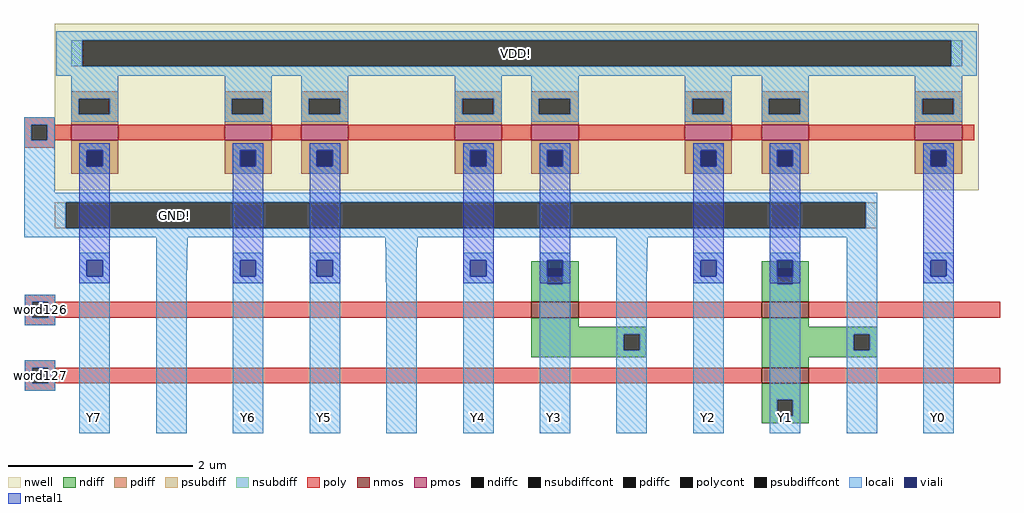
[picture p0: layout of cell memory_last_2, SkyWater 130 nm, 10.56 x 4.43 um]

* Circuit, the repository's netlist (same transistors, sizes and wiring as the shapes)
* NGSPICE file created from memory_last_2.ext - technology: sky130A

*.subckt memory_last_2 GND VDD word126 word127 Y7 Y6 Y5 Y4 Y3 Y2 Y1 Y0
X0 VDD GND Y5 VDD sky130_fd_pr__pfet_01v8 ad=0.2397 pd=1.96 as=0.1836 ps=1.74 w=0.51 l=0.17
X1 VDD GND Y3 VDD sky130_fd_pr__pfet_01v8 ad=0.2397 pd=1.96 as=0.1836 ps=1.74 w=0.51 l=0.17
X2 VDD GND Y4 VDD sky130_fd_pr__pfet_01v8 ad=0.2397 pd=1.96 as=0.1836 ps=1.74 w=0.51 l=0.17
X3 VDD GND Y7 VDD sky130_fd_pr__pfet_01v8 ad=0.2397 pd=1.96 as=0.1836 ps=1.74 w=0.51 l=0.17
X4 Y3 word126 GND GND sky130_fd_pr__nfet_01v8 ad=0.2244 pd=1.9 as=0.4635 ps=3.36 w=0.51 l=0.17
X5 VDD GND Y1 VDD sky130_fd_pr__pfet_01v8 ad=0.2397 pd=1.96 as=0.1836 ps=1.74 w=0.51 l=0.17
X6 VDD GND Y2 VDD sky130_fd_pr__pfet_01v8 ad=0.2397 pd=1.96 as=0.1836 ps=1.74 w=0.51 l=0.17
X7 GND word127 Y1 GND sky130_fd_pr__nfet_01v8 ad=0.2598 pd=1.79 as=0.2193 ps=1.88 w=0.51 l=0.17
X8 VDD GND Y0 VDD sky130_fd_pr__pfet_01v8 ad=0.2397 pd=1.96 as=0.1836 ps=1.74 w=0.51 l=0.17
X9 Y1 word126 GND GND sky130_fd_pr__nfet_01v8 ad=0.2244 pd=1.9 as=0.2598 ps=1.79 w=0.51 l=0.17
X10 VDD GND Y6 VDD sky130_fd_pr__pfet_01v8 ad=0.2397 pd=1.96 as=0.1836 ps=1.74 w=0.51 l=0.17
*.ends

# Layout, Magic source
magic
tech sky130A
magscale 1 2
<< nwell >>
rect -54 -17710 1946 -17350
<< nmos >>
rect 978 -17986 1080 -17952
rect 1476 -17986 1578 -17952
rect 1476 -18128 1578 -18094
<< pmos >>
rect -18 -17602 84 -17568
rect 314 -17602 416 -17568
rect 480 -17602 582 -17568
rect 812 -17602 914 -17568
rect 978 -17602 1080 -17568
rect 1310 -17602 1412 -17568
rect 1476 -17602 1578 -17568
rect 1808 -17602 1910 -17568
<< ndiff >>
rect 978 -17880 1080 -17864
rect 978 -17914 1012 -17880
rect 1046 -17914 1080 -17880
rect 978 -17952 1080 -17914
rect 1476 -17880 1578 -17864
rect 1476 -17914 1510 -17880
rect 1544 -17914 1578 -17880
rect 1476 -17952 1578 -17914
rect 978 -18006 1080 -17986
rect 1476 -18006 1578 -17986
rect 978 -18022 1228 -18006
rect 978 -18056 1178 -18022
rect 1212 -18056 1228 -18022
rect 978 -18072 1228 -18056
rect 1476 -18022 1726 -18006
rect 1476 -18056 1676 -18022
rect 1710 -18056 1726 -18022
rect 1476 -18072 1726 -18056
rect 1476 -18094 1578 -18072
rect 1476 -18164 1578 -18128
rect 1476 -18198 1510 -18164
rect 1544 -18198 1578 -18164
rect 1476 -18214 1578 -18198
<< pdiff >>
rect -18 -17512 84 -17496
rect -18 -17546 -2 -17512
rect 66 -17546 84 -17512
rect -18 -17568 84 -17546
rect 314 -17512 416 -17496
rect 314 -17546 330 -17512
rect 398 -17546 416 -17512
rect 314 -17568 416 -17546
rect 480 -17512 582 -17496
rect 480 -17546 496 -17512
rect 564 -17546 582 -17512
rect 480 -17568 582 -17546
rect 812 -17512 914 -17496
rect 812 -17546 828 -17512
rect 896 -17546 914 -17512
rect 812 -17568 914 -17546
rect 978 -17512 1080 -17496
rect 978 -17546 994 -17512
rect 1062 -17546 1080 -17512
rect 978 -17568 1080 -17546
rect 1310 -17512 1412 -17496
rect 1310 -17546 1326 -17512
rect 1394 -17546 1412 -17512
rect 1310 -17568 1412 -17546
rect 1476 -17512 1578 -17496
rect 1476 -17546 1492 -17512
rect 1560 -17546 1578 -17512
rect 1476 -17568 1578 -17546
rect 1808 -17512 1910 -17496
rect 1808 -17546 1824 -17512
rect 1892 -17546 1910 -17512
rect 1808 -17568 1910 -17546
rect -18 -17624 84 -17602
rect -18 -17658 16 -17624
rect 50 -17658 84 -17624
rect -18 -17674 84 -17658
rect 314 -17624 416 -17602
rect 314 -17658 348 -17624
rect 382 -17658 416 -17624
rect 314 -17674 416 -17658
rect 480 -17624 582 -17602
rect 480 -17658 514 -17624
rect 548 -17658 582 -17624
rect 480 -17674 582 -17658
rect 812 -17624 914 -17602
rect 812 -17658 846 -17624
rect 880 -17658 914 -17624
rect 812 -17674 914 -17658
rect 978 -17624 1080 -17602
rect 978 -17658 1012 -17624
rect 1046 -17658 1080 -17624
rect 978 -17674 1080 -17658
rect 1310 -17624 1412 -17602
rect 1310 -17658 1344 -17624
rect 1378 -17658 1412 -17624
rect 1310 -17674 1412 -17658
rect 1476 -17624 1578 -17602
rect 1476 -17658 1510 -17624
rect 1544 -17658 1578 -17624
rect 1476 -17674 1578 -17658
rect 1808 -17624 1910 -17602
rect 1808 -17658 1842 -17624
rect 1876 -17658 1910 -17624
rect 1808 -17674 1910 -17658
<< ndiffc >>
rect 1012 -17914 1046 -17880
rect 1510 -17914 1544 -17880
rect 1178 -18056 1212 -18022
rect 1676 -18056 1710 -18022
rect 1510 -18198 1544 -18164
<< pdiffc >>
rect -2 -17546 66 -17512
rect 330 -17546 398 -17512
rect 496 -17546 564 -17512
rect 828 -17546 896 -17512
rect 994 -17546 1062 -17512
rect 1326 -17546 1394 -17512
rect 1492 -17546 1560 -17512
rect 1824 -17546 1892 -17512
rect 16 -17658 50 -17624
rect 348 -17658 382 -17624
rect 514 -17658 548 -17624
rect 846 -17658 880 -17624
rect 1012 -17658 1046 -17624
rect 1344 -17658 1378 -17624
rect 1510 -17658 1544 -17624
rect 1842 -17658 1876 -17624
<< psubdiff >>
rect -54 -17792 -30 -17736
rect 1702 -17792 1726 -17736
<< nsubdiff >>
rect -18 -17442 6 -17386
rect 1886 -17442 1910 -17386
<< psubdiffcont >>
rect -30 -17792 1702 -17736
<< nsubdiffcont >>
rect 6 -17442 1886 -17386
<< poly >>
rect -120 -17568 -54 -17552
rect -120 -17602 -104 -17568
rect -70 -17602 -18 -17568
rect 84 -17602 314 -17568
rect 416 -17602 480 -17568
rect 582 -17602 812 -17568
rect 914 -17602 978 -17568
rect 1080 -17602 1310 -17568
rect 1412 -17602 1476 -17568
rect 1578 -17602 1808 -17568
rect 1910 -17602 1936 -17568
rect -120 -17618 -54 -17602
rect -118 -17952 -52 -17936
rect -118 -17986 -102 -17952
rect -68 -17986 978 -17952
rect 1080 -17986 1476 -17952
rect 1578 -17986 1992 -17952
rect -118 -18002 -52 -17986
rect -118 -18094 -52 -18078
rect -118 -18128 -102 -18094
rect -68 -18128 1476 -18094
rect 1578 -18128 1992 -18094
rect -118 -18144 -52 -18128
<< polycont >>
rect -104 -17602 -70 -17568
rect -102 -17986 -68 -17952
rect -102 -18128 -68 -18094
<< locali >>
rect -50 -17386 1942 -17366
rect -50 -17442 6 -17386
rect 1886 -17442 1942 -17386
rect -50 -17462 1942 -17442
rect -18 -17512 84 -17462
rect -18 -17546 -2 -17512
rect 66 -17546 84 -17512
rect -120 -17568 -54 -17552
rect -18 -17562 84 -17546
rect 314 -17512 416 -17462
rect 314 -17546 330 -17512
rect 398 -17546 416 -17512
rect 314 -17562 416 -17546
rect 480 -17512 582 -17462
rect 480 -17546 496 -17512
rect 564 -17546 582 -17512
rect 480 -17562 582 -17546
rect 812 -17512 914 -17462
rect 812 -17546 828 -17512
rect 896 -17546 914 -17512
rect 812 -17562 914 -17546
rect 978 -17512 1080 -17462
rect 978 -17546 994 -17512
rect 1062 -17546 1080 -17512
rect 978 -17562 1080 -17546
rect 1310 -17512 1412 -17462
rect 1310 -17546 1326 -17512
rect 1394 -17546 1412 -17512
rect 1310 -17562 1412 -17546
rect 1476 -17512 1578 -17462
rect 1476 -17546 1492 -17512
rect 1560 -17546 1578 -17512
rect 1476 -17562 1578 -17546
rect 1808 -17512 1910 -17462
rect 1808 -17546 1824 -17512
rect 1892 -17546 1910 -17512
rect 1808 -17562 1910 -17546
rect -120 -17602 -104 -17568
rect -70 -17602 -54 -17568
rect -120 -17716 -54 -17602
rect 0 -17624 66 -17608
rect 0 -17658 16 -17624
rect 50 -17658 66 -17624
rect 0 -17674 66 -17658
rect 332 -17624 398 -17608
rect 332 -17658 348 -17624
rect 382 -17658 398 -17624
rect 332 -17674 398 -17658
rect 498 -17624 564 -17608
rect 498 -17658 514 -17624
rect 548 -17658 564 -17624
rect 498 -17674 564 -17658
rect 830 -17624 896 -17608
rect 830 -17658 846 -17624
rect 880 -17658 896 -17624
rect 830 -17674 896 -17658
rect 996 -17624 1062 -17608
rect 996 -17658 1012 -17624
rect 1046 -17658 1062 -17624
rect 996 -17674 1062 -17658
rect 1328 -17624 1394 -17608
rect 1328 -17658 1344 -17624
rect 1378 -17658 1394 -17624
rect 1328 -17674 1394 -17658
rect 1494 -17624 1560 -17608
rect 1494 -17658 1510 -17624
rect 1544 -17658 1560 -17624
rect 1494 -17674 1560 -17658
rect 1826 -17624 1892 -17608
rect 1826 -17658 1842 -17624
rect 1876 -17658 1892 -17624
rect 1826 -17674 1892 -17658
rect -120 -17736 1726 -17716
rect -120 -17792 -30 -17736
rect 1702 -17792 1726 -17736
rect -120 -17812 1726 -17792
rect 166 -17834 234 -17812
rect 662 -17834 732 -17812
rect 1162 -17834 1230 -17812
rect 0 -17862 66 -17846
rect 0 -17896 16 -17862
rect 50 -17896 66 -17862
rect -118 -17952 -52 -17936
rect -118 -17986 -102 -17952
rect -68 -17986 -52 -17952
rect -118 -18002 -52 -17986
rect -118 -18094 -52 -18078
rect -118 -18128 -102 -18094
rect -68 -18128 -52 -18094
rect -118 -18144 -52 -18128
rect 0 -18236 66 -17896
rect 166 -17883 233 -17834
rect 332 -17862 398 -17846
rect 166 -18236 232 -17883
rect 332 -17896 348 -17862
rect 382 -17896 398 -17862
rect 332 -18236 398 -17896
rect 498 -17862 564 -17846
rect 498 -17896 514 -17862
rect 548 -17896 564 -17862
rect 498 -18236 564 -17896
rect 663 -17909 730 -17834
rect 664 -18236 730 -17909
rect 830 -17862 896 -17846
rect 830 -17896 846 -17862
rect 880 -17896 896 -17862
rect 830 -18236 896 -17896
rect 996 -17862 1062 -17846
rect 996 -17914 1012 -17862
rect 1046 -17914 1062 -17862
rect 996 -18236 1062 -17914
rect 1162 -17885 1229 -17834
rect 1328 -17862 1394 -17846
rect 1162 -18022 1228 -17885
rect 1162 -18056 1178 -18022
rect 1212 -18056 1228 -18022
rect 1162 -18236 1228 -18056
rect 1328 -17896 1344 -17862
rect 1378 -17896 1394 -17862
rect 1328 -18236 1394 -17896
rect 1494 -17862 1560 -17846
rect 1494 -17914 1510 -17862
rect 1544 -17914 1560 -17862
rect 1494 -18164 1560 -17914
rect 1494 -18198 1510 -18164
rect 1544 -18198 1560 -18164
rect 1494 -18236 1560 -18198
rect 1660 -18022 1726 -17812
rect 1660 -18056 1676 -18022
rect 1710 -18056 1726 -18022
rect 1660 -18236 1726 -18056
rect 1826 -17862 1892 -17846
rect 1826 -17896 1842 -17862
rect 1876 -17896 1892 -17862
rect 1826 -18236 1892 -17896
<< viali >>
rect 16 -17658 50 -17624
rect 348 -17658 382 -17624
rect 514 -17658 548 -17624
rect 846 -17658 880 -17624
rect 1012 -17658 1046 -17624
rect 1344 -17658 1378 -17624
rect 1510 -17658 1544 -17624
rect 1842 -17658 1876 -17624
rect 16 -17896 50 -17862
rect 348 -17896 382 -17862
rect 514 -17896 548 -17862
rect 846 -17896 880 -17862
rect 1012 -17880 1046 -17862
rect 1012 -17896 1046 -17880
rect 1344 -17896 1378 -17862
rect 1510 -17880 1544 -17862
rect 1510 -17896 1544 -17880
rect 1842 -17896 1876 -17862
<< metal1 >>
rect 0 -17624 66 -17608
rect 0 -17658 16 -17624
rect 50 -17658 66 -17624
rect 0 -17862 66 -17658
rect 0 -17896 16 -17862
rect 50 -17896 66 -17862
rect 0 -17912 66 -17896
rect 332 -17624 398 -17608
rect 332 -17658 348 -17624
rect 382 -17658 398 -17624
rect 332 -17862 398 -17658
rect 332 -17896 348 -17862
rect 382 -17896 398 -17862
rect 332 -17912 398 -17896
rect 498 -17624 564 -17608
rect 498 -17658 514 -17624
rect 548 -17658 564 -17624
rect 498 -17862 564 -17658
rect 498 -17896 514 -17862
rect 548 -17896 564 -17862
rect 498 -17912 564 -17896
rect 830 -17624 896 -17608
rect 830 -17658 846 -17624
rect 880 -17658 896 -17624
rect 830 -17862 896 -17658
rect 830 -17896 846 -17862
rect 880 -17896 896 -17862
rect 830 -17912 896 -17896
rect 996 -17624 1062 -17608
rect 996 -17658 1012 -17624
rect 1046 -17658 1062 -17624
rect 996 -17862 1062 -17658
rect 996 -17896 1012 -17862
rect 1046 -17896 1062 -17862
rect 996 -17912 1062 -17896
rect 1328 -17624 1394 -17608
rect 1328 -17658 1344 -17624
rect 1378 -17658 1394 -17624
rect 1328 -17862 1394 -17658
rect 1328 -17896 1344 -17862
rect 1378 -17896 1394 -17862
rect 1328 -17912 1394 -17896
rect 1494 -17624 1560 -17608
rect 1494 -17658 1510 -17624
rect 1544 -17658 1560 -17624
rect 1494 -17862 1560 -17658
rect 1494 -17896 1510 -17862
rect 1544 -17896 1560 -17862
rect 1494 -17912 1560 -17896
rect 1826 -17624 1892 -17608
rect 1826 -17658 1842 -17624
rect 1876 -17658 1892 -17624
rect 1826 -17862 1892 -17658
rect 1826 -17896 1842 -17862
rect 1876 -17896 1892 -17862
rect 1826 -17912 1892 -17896
<< labels >>
flabel locali -118 -18002 -52 -17936 0 FreeSerif 160 0 0 0 word126
port 32 nsew
flabel locali -118 -18144 -52 -18078 0 FreeSerif 160 0 0 0 word127
port 35 nsew
flabel locali 332 -18236 398 -18170 0 FreeSerif 160 0 0 0 Y6
port 38 nsew
flabel locali 0 -18236 66 -18170 0 FreeSerif 160 0 0 0 Y7
port 37 nsew
flabel locali 498 -18236 564 -18170 0 FreeSerif 160 0 0 0 Y5
port 39 nsew
flabel locali 830 -18236 896 -18170 0 FreeSerif 160 0 0 0 Y4
port 40 nsew
flabel locali 996 -18236 1062 -18170 0 FreeSerif 160 0 0 0 Y3
port 41 nsew
flabel locali 1328 -18236 1394 -18170 0 FreeSerif 160 0 0 0 Y2
port 42 nsew
flabel locali 1494 -18236 1560 -18170 0 FreeSerif 160 0 0 0 Y1
port 43 nsew
flabel locali 1826 -18236 1892 -18170 0 FreeSerif 160 0 0 0 Y0
port 44 nsew
flabel locali 132 -17812 278 -17716 0 FreeSerif 160 0 0 0 GND!
port 0 nsew
flabel locali -50 -17462 1942 -17366 0 FreeSerif 160 0 0 0 VDD!
port 10 nsew
<< end >>
